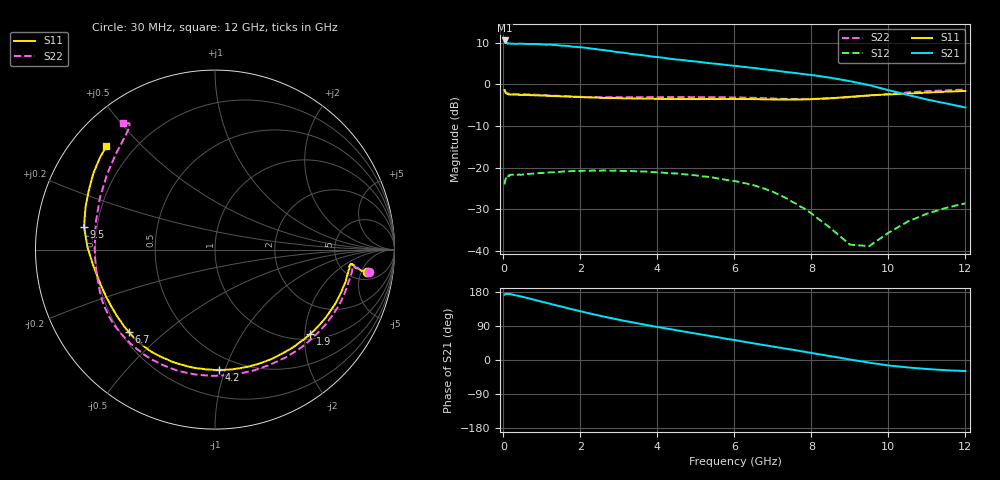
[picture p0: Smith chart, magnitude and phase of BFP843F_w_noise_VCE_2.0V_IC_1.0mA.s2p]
! Infineon Technologies  Discrete & RF Semiconductors
! BFP843F
! VCE =  2.0 V,  IC =  1.0 mA
! Common Emitter S-Parameters:  Aug 2013
# GHz  S  MA  R  50
!  f  S11  S21  S12  S22
! GHz  MAG  ANG  MAG  ANG  MAG  ANG  MAG  ANG
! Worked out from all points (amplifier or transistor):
!   103 points, 30 MHz to 12 GHz, reference 50 ohm
!   highest |S21| = 10.6 dB at 30 MHz (marker M1)
!   |S21| within 3 dB of that: start of sweep to 3.157 GHz
!   unconditionally stable (mu >= 1): 106.2 MHz to 1.085 GHz; 4.71 GHz to end of sweep
!   at 400 MHz: K = 1.03, MAG = 14.6 dB, |S12| = -21.6 dB
!   at 3.7 GHz: K = 0.93, MSG = 13.9 dB, |S12| = -20.9 dB
!   at 12 GHz: K = 2.07, MAG = 5.6 dB, |S12| = -28.6 dB
!   lowest NFmin = 1.53 dB at 450 MHz
!   S11 on the Smith chart (normalised r, x): 30 MHz: 6.84, -6.40; 1.9 GHz: 1.13, -2.13; 4.2 GHz: 0.39, -0.96; 6.7 GHz: 0.23, -0.38; 9.5 GHz: 0.15, +0.09; 12 GHz: 0.10, +0.40
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0.03  0.856 -8.4  3.383 172.6  0.0629 39.1  0.8696 -8.3
0.04  0.824 -8.2  3.286 172.5  0.0689 30.8  0.839 -8.2
0.05  0.8059 -7.5  3.209 174.1  0.071 27.9  0.8235 -7.8
0.07  0.7852 -7.2  3.154 174.3  0.0768 19.4  0.796 -7.2
0.15  0.7605 -6.1  3.121 174.3  0.0802 8.6  0.7754 -7.4
0.9  0.7394 -20.2  3.06 156.3  0.0858 0.5  0.751 -28.4
1.4  0.7246 -30.9  2.966 143.5  0.0888 -2.8  0.7314 -44.0
1.9  0.7087 -41.5  2.824 131.2  0.091 -6.7  0.7137 -59.7
2.1  0.7025 -45.8  2.777 126.2  0.0921 -8.3  0.7097 -65.8
2.8  0.6866 -60.1  2.523 110.5  0.0919 -15.4  0.7026 -85.0
3.4  0.6786 -72.1  2.31 98.4  0.0908 -21.2  0.7045 -98.9
4.1  0.6721 -86.1  2.109 85.4  0.0874 -28.4  0.7047 -112.3
4.2  0.67 -88.0  2.084 83.6  0.0867 -29.2  0.706 -114.2
5.2  0.6685 -107.9  1.839 66.2  0.0784 -40.1  0.7046 -131.8
6.1  0.6692 -125.0  1.664 50.9  0.0677 -50.9  0.6982 -147.2
6.7  0.6641 -136.2  1.533 40.6  0.0573 -59.4  0.6867 -157.3
7.6  0.659 -154.1  1.372 25.6  0.037 -69.3  0.6693 -173.4
8.5  0.684 -172.4  1.205 10.0  0.0187 -60.9  0.6813 167.0
9  0.7108 178.9  1.096 1.3  0.0119 -40.3  0.7035 155.6
9.5  0.7408 170.0  0.983 -7.0  0.0114 3.6  0.7337 145.0
10.5  0.7769 154.8  0.75 -19.6  0.0225 33.4  0.8021 129.0
12  0.8357 136.4  0.53 -29.2  0.0373 39.0  0.8708 126.2
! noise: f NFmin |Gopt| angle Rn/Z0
0.45  1.53  0.43  11  0.36
0.9  1.54  0.44  19  0.36
1.5  1.7  0.44  27  0.37
1.9  1.8  0.43  38  0.38
2.4  1.86  0.43  49  0.39
3.5  2.02  0.46  72  0.44
5.5  2.23  0.42  117  0.53
10  4.06  0.58  -144  0.6
